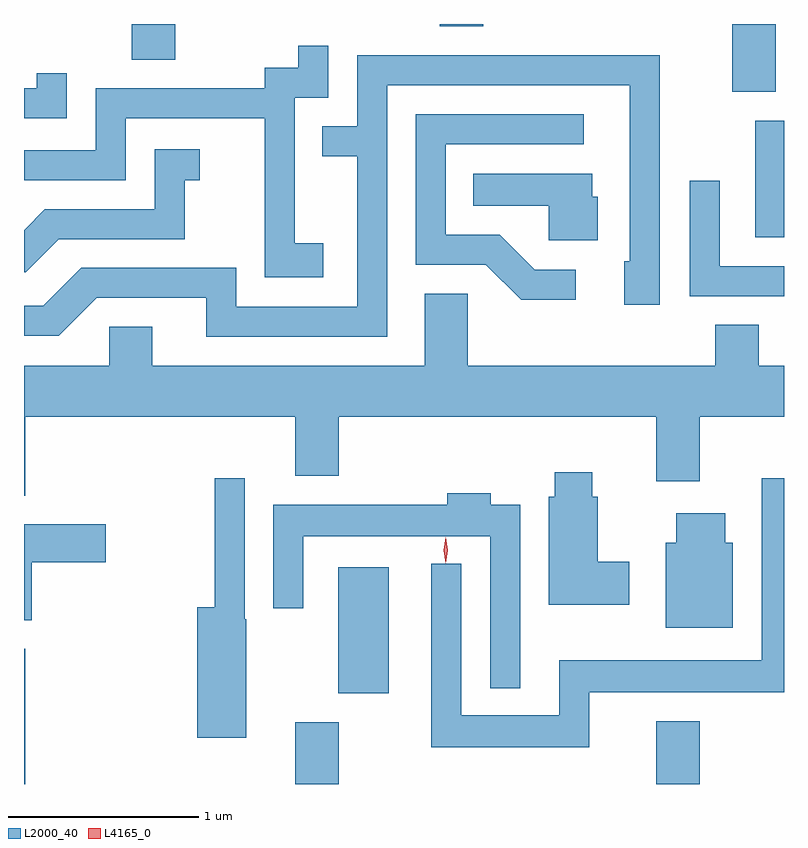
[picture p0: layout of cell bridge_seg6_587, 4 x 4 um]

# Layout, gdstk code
import gdstk
lib = gdstk.Library(unit=1e-6, precision=1e-09)
def R(c, l, rs):  # rectangles x0, y0, x1, y1
    for r in rs: c.add(gdstk.rectangle(r[:2], r[2:], *l))
def P(c, l, *ps):  # polygons
    for p in ps: c.add(gdstk.Polygon(p, *l))
L2000_40 = (2000, 40)
L4165_0 = (4165, 0)

bridge_seg6_587 = lib.new_cell('bridge_seg6_587')
R(bridge_seg6_587, L2000_40, [(519.973,1630.243,519.979,1630.954), (521.401,1630.243,521.629,1630.569), (523.301,1630.243,523.529,1630.574), (521.626,1630.721,521.894,1631.384), (523.821,1633.121,523.973,1633.734), (523.701,1633.886,523.929,1634.243), (520.541,1634.056,520.769,1634.243), (522.161,1634.231,522.389,1634.243)])
P(bridge_seg6_587, L2000_40, [(521.549,1633.089),(521.399,1633.089),(521.399,1633.856),(521.574,1633.856),(521.574,1634.128),(521.416,1634.128),(521.416,1634.014),(521.241,1634.014),(521.241,1633.904),(520.351,1633.904),(520.351,1633.579),(519.973,1633.579),(519.973,1633.421),(520.509,1633.421),(520.509,1633.746),(521.241,1633.746),(521.241,1632.911),(521.549,1632.911)],
  [(521.884,1633.921),(523.161,1633.921),(523.161,1632.994),(523.131,1632.994),(523.131,1632.766),(523.319,1632.766),(523.319,1634.079),(521.726,1634.079),(521.726,1633.704),(521.543,1633.704),(521.543,1633.546),(521.726,1633.546),(521.726,1632.754),(521.089,1632.754),(521.089,1632.959),(520.274,1632.959),(520.073,1632.759),(519.973,1632.759),(519.973,1632.601),(520.157,1632.601),(520.357,1632.801),(520.931,1632.801),(520.931,1632.596),(521.884,1632.596)],
  [(520.199,1633.983),(520.041,1633.983),(520.041,1633.904),(519.973,1633.904),(519.973,1633.746),(520.199,1633.746)],
  [(522.878,1632.949),(522.662,1632.949),(522.477,1633.134),(522.194,1633.134),(522.194,1633.611),(522.918,1633.611),(522.918,1633.769),(522.036,1633.769),(522.036,1632.976),(522.404,1632.976),(522.589,1632.791),(522.878,1632.791)],
  [(520.157,1633.111),(520.819,1633.111),(520.819,1633.421),(520.898,1633.421),(520.898,1633.584),(520.661,1633.584),(520.661,1633.269),(520.083,1633.269),(519.973,1633.158),(519.973,1632.936),(519.982,1632.936)],
  [(522.994,1633.334),(522.964,1633.334),(522.964,1633.454),(522.338,1633.454),(522.338,1633.286),(522.736,1633.286),(522.736,1633.106),(522.994,1633.106)],
  [(523.973,1632.969),(523.634,1632.969),(523.634,1633.418),(523.476,1633.418),(523.476,1632.811),(523.973,1632.811)],
  [(519.979,1632.176),(521.401,1632.176),(521.401,1631.866),(521.629,1631.866),(521.629,1632.176),(523.301,1632.176),(523.301,1631.836),(523.529,1631.836),(523.529,1632.176),(523.973,1632.176),(523.973,1632.444),(523.839,1632.444),(523.839,1632.659),(523.611,1632.659),(523.611,1632.444),(522.309,1632.444),(522.309,1632.824),(522.081,1632.824),(522.081,1632.444),(520.649,1632.444),(520.649,1632.649),(520.421,1632.649),(520.421,1632.444),(519.973,1632.444),(519.973,1631.761),(519.979,1631.761)],
  [(523.159,1631.414),(522.994,1631.414),(522.994,1631.754),(522.964,1631.754),(522.964,1631.884),(522.766,1631.884),(522.766,1631.754),(522.736,1631.754),(522.736,1631.186),(523.159,1631.186)],
  [(522.949,1630.726),(523.973,1630.726),(523.973,1631.853),(523.856,1631.853),(523.856,1630.894),(522.791,1630.894),(522.791,1630.604),(522.274,1630.604),(522.274,1631.403),(522.116,1631.403),(522.116,1630.436),(522.949,1630.436)],
  [(521.144,1631.11),(521.134,1631.11),(521.134,1631.853),(520.976,1631.853),(520.976,1631.174),(520.886,1631.174),(520.886,1630.486),(521.144,1630.486)],
  [(522.584,1631.714),(522.429,1631.714),(522.429,1631.774),(522.201,1631.774),(522.201,1631.714),(521.286,1631.714),(521.286,1631.168),(521.444,1631.168),(521.444,1631.546),(522.426,1631.546),(522.426,1630.748),(522.584,1630.748)],
  [(523.704,1631.514),(523.664,1631.514),(523.664,1631.669),(523.406,1631.669),(523.406,1631.514),(523.351,1631.514),(523.351,1631.066),(523.704,1631.066)],
  [(520.014,1631.411),(520.404,1631.411),(520.404,1631.609),(519.973,1631.609),(519.973,1631.106),(520.014,1631.106)])
P(bridge_seg6_587, L4165_0, [(522.192,1631.404),(522.192,1631.404),(522.182,1631.473),(522.192,1631.542),(522.192,1631.543),(522.193,1631.542),(522.202,1631.473),(522.193,1631.404)],
  [(522.193,1631.407),(522.184,1631.474),(522.193,1631.54),(522.194,1631.54),(522.194,1631.54),(522.204,1631.474),(522.194,1631.407),(522.194,1631.407)])

lib.write_gds('bridge_seg6_587.gds')
